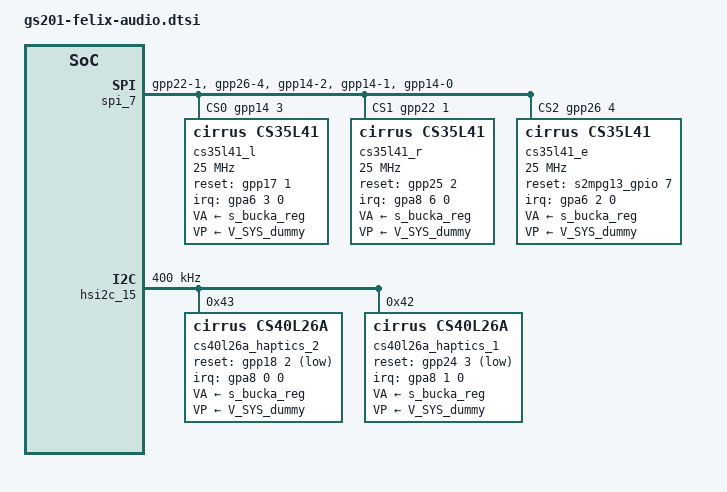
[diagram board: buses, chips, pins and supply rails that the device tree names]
// SPDX-License-Identifier: GPL-2.0-only
/*
 * Google GS201 Felix common audio device tree source
 *
 * Copyright (c) 2021 Google, LLC
 *          https://www.google.com
 *
 *  cs35l41_l = top
 *  cs35l41_r = bottom
 */
#include <arm64/exynos/exynos-pinctrl.h>
#include "gs201/gs101-pinctrl.h"
#include <dt-bindings/gpio/gpio.h>
#include <dt-bindings/sound/google-aoc.h>

/delete-node/ &cs40l26a_haptics;

&aoc {
	aoc-board-cfg = "F10";
	aoc-board-id = <0x30601>;
	aoc-board-rev = <0x10000>;
};

&dai_be_tdm0_rx {
	codec {
		sound-dai = <&cs35l41_l 0>,
			<&cs35l41_r 0>,
			<&cs35l41_e 0>;
	};
};

&dai_be_tdm0_tx {
	codec {
		sound-dai = <&cs35l41_l 0>,
			<&cs35l41_r 0>,
			<&cs35l41_e 0>;
	};
};

&dai_be_haptic_rx_codec {
	sound-dai = <&cs40l26_codec 0>, <&cs40l26_codec_2 0>;
};

&aoc_snd_card {
	clks {
		sys {
			sys@cs35l41_l {
				comp = <&cs35l41_l>;
				src = "BCLK";
				/* clk id */
				id = <0>;
				/* clk source */
				srcid = <0>;
				/* in clk multiple */
				in_mul = <1>;
				/* out clk multiple */
				out_mul = <1>;
			};

			sys@cs35l41_r {
				comp = <&cs35l41_r>;
				src = "BCLK";
				/* clk id */
				id = <0>;
				/* clk source */
				srcid = <0>;
				/* in clk multiple */
				in_mul = <1>;
				/* out clk multiple */
				out_mul = <1>;
			};

			sys@cs35l41_e {
				comp = <&cs35l41_e>;
				src = "BCLK";
				/* clk id */
				id = <0>;
				/* clk source */
				srcid = <0>;
				/* in clk multiple */
				in_mul = <1>;
				/* out clk multiple */
				out_mul = <1>;
			};

			sys@cs40l26_codec_2 {
				comp = <&cs40l26_codec_2>;
				src = "BCLK";
				/* clk id */
				id = <0>;
				/* clk source */
				srcid = <0>;
				/* in clk multiple */
				in_mul = <1>;
				/* out clk multiple */
				out_mul = <1>;
			};
		};
	};
};

/* GPIO_FAR_ALIVE */
&pinctrl_1 {
	cs35l41_l_irq: cs35l41-l-irq {
		samsung,pins = "gpa6-3"; /* XEINT_3 - AMP1_IRQ_L */
		samsung,pin-function = <EXYNOS_PIN_FUNC_EINT>;
		samsung,pin-pud = <EXYNOS_PIN_PULL_NONE>;
	};

	cs35l41_r_irq: cs35l41-r-irq {
		samsung,pins = "gpa8-6"; /* XEINT_18 - AMP2_IRQ_L */
		samsung,pin-function = <EXYNOS_PIN_FUNC_EINT>;
		samsung,pin-pud = <EXYNOS_PIN_PULL_NONE>;
	};

	cs35l41_e_irq: cs35l41-e-irq {
		samsung,pins = "gpa6-2"; /* XEINT_2 - AMP3_IRQ_L */
		samsung,pin-function = <EXYNOS_PIN_FUNC_EINT>;
		samsung,pin-pud = <EXYNOS_PIN_PULL_NONE>;
	};

	hapt_amp2_irq: hapt-amp2-irq {
		samsung,pins = "gpa8-0"; /* XEINT_12 */
		samsung,pin-function = <EXYNOS_PIN_FUNC_EINT>;
		samsung,pin-pud = <EXYNOS_PIN_PULL_NONE>;
	};
};

/* GPIO_PERIC0 */
&pinctrl_4 {
	cs35l41_clk: cs35l41-clk {
		samsung,pins = "gpp14-0"; /* XAPC_USI7_RXD_CLK_SCL - AUDIO_SPI_CLK */
		samsung,pin-drv = <GS101_PIN_DRV_5_MA>;
	};

	cs35l41_mosi: cs35l41-mosi {
		samsung,pins = "gpp14-1"; /* XAPC_USI7_TXD_DO_SDA - AUDIO_SPI_MOSI */
		samsung,pin-drv = <GS101_PIN_DRV_5_MA>;
	};

	cs35l41_miso: cs35l41-miso {
		samsung,pins = "gpp14-2"; /* XAPC_USI7_RTSn_DI - AUDIO_SPI_MISO */
		samsung,pin-pud = <EXYNOS_PIN_PULL_DOWN>;
	};

	cs35l41_cs1: cs35l41-cs1 {
		samsung,pins = "gpp14-3"; /* XAPC_USI7_CTSN_CSN - AUDIO_AMP1_SPI_CS_L */
		samsung,pin-function = <EXYNOS_PIN_FUNC_OUTPUT>;
		samsung,pin-pud = <EXYNOS_PIN_PULL_NONE>;
	};

	cs35l41_l_rst: cs35l41-l-rst {
		samsung,pins = "gpp17-1"; /* XAPC_VSYNC8 - AMP1_RESET_L */
		samsung,pin-function = <EXYNOS_PIN_FUNC_OUTPUT>;
		samsung,pin-pud = <EXYNOS_PIN_PULL_NONE>;
		samsung,pin-con-pdn = <EXYNOS_PIN_PDN_PREV>;
		samsung,pin-pud-pdn = <EXYNOS_PIN_PULL_NONE>;
	};
        hapt_amp2_rst: hapt-amp2-rst {
		samsung,pins = "gpp18-2"; /* XAPC_USI14_RTSn_DI */
		samsung,pin-function = <EXYNOS_PIN_FUNC_OUTPUT>;
		samsung,pin-pud = <EXYNOS_PIN_PULL_NONE>;
		samsung,pin-con-pdn = <EXYNOS_PIN_PDN_PREV>;
		samsung,pin-pud-pdn = <EXYNOS_PIN_PULL_NONE>;
	};
};

/* GPIO_PERIC1 */
&pinctrl_5 {
	cs35l41_cs2: cs35l41-cs2 {
		samsung,pins = "gpp22-1"; /* XAPC_GPIO5 - AUDIO_AMP2_SPI_CS_L */
		samsung,pin-function = <EXYNOS_PIN_FUNC_OUTPUT>;
		samsung,pin-pud = <EXYNOS_PIN_PULL_NONE>;
	};

	cs35l41_cs3: cs35l41-cs3 {
		samsung,pins = "gpp26-4"; /* XAPC_GPIO6 - AUDIO_AMP3_SPI_CS_L */
		samsung,pin-function = <EXYNOS_PIN_FUNC_OUTPUT>;
		samsung,pin-pud = <EXYNOS_PIN_PULL_NONE>;
	};

	cs35l41_r_rst: cs35l41-r-rst {
		samsung,pins = "gpp25-2"; /* XAPC_USI13_RTSn_DI - AMP2_RESET_L */
		samsung,pin-function = <EXYNOS_PIN_FUNC_OUTPUT>;
		samsung,pin-pud = <EXYNOS_PIN_PULL_NONE>;
		samsung,pin-con-pdn = <EXYNOS_PIN_PDN_PREV>;
		samsung,pin-pud-pdn = <EXYNOS_PIN_PULL_NONE>;
	};
};

&s2mpg13_pinctrl {
        cs35l41_e_rst: cs35l41-e-rst {
        };
};

&spi7_cs_func {
	samsung,pins = "gpp14-3";
	samsung,pin-drv = <GS101_PIN_DRV_5_MA>;
};

&spi_7 {
	/* XAPC_USI7 */
	#address-cells = <1>;
	#size-cells = <0>;
	status = "okay";

	pinctrl-names = "default";
	pinctrl-0 = <&spi7_bus &spi7_cs_func &cs35l41_cs2 &cs35l41_cs3
		     &cs35l41_miso &cs35l41_mosi &cs35l41_clk>;
	cs-gpios = <&gpp14 3 GPIO_ACTIVE_HIGH>, <&gpp22 1 GPIO_ACTIVE_HIGH>,
		   <&gpp26 4 GPIO_ACTIVE_HIGH>;

	cs35l41_l: cs35l41@0 {
		#sound-dai-cells = <1>;
		compatible = "cirrus,cs35l41";
		spi-max-frequency = <25000000>;
		reg = <0>;

		status = "okay";

		pinctrl-names = "default";
		pinctrl-0 = <&cs35l41_l_irq &cs35l41_l_rst>;

		interrupt-parent = <&gpa6>;
		interrupts = <3 0 0>;

		reset-gpios = <&gpp17 1 GPIO_ACTIVE_HIGH>;

		VA-supply = <&s_bucka_reg>;
		VP-supply = <&V_SYS_dummy>;

		cirrus,boost-peak-milliamp = <3500>;
		cirrus,boost-ind-nanohenry = <1000>;
		cirrus,boost-cap-microfarad = <4>;

		cirrus,asp-sdout-hiz = <3>;
		cirrus,tuning-has-prefix;
		cirrus,hw-noise-gate-select = <63>;
		/* cirrus,hibernate-enable; */

		cirrus,gpio-config2 {
			cirrus,gpio-src-select = <0x5>;
			cirrus,gpio-output-enable;
		};

		controller-data {
			cs-gpio = <&gpp14 3 GPIO_ACTIVE_HIGH>;
			samsung,spi-feedback-delay = <1>;
			/* SET SPI CS CONTROL TO AUTOMATIC */
			samsung,spi-chip-select-mode = <1>;
		};
	};


	cs35l41_r: cs35l41@1 {
		#sound-dai-cells = <1>;
		sound-name-prefix = "R";
		compatible = "cirrus,cs35l41";
		spi-max-frequency = <25000000>;
		reg = <1>;

		status = "okay";

		pinctrl-names = "default";
		pinctrl-0 = <&cs35l41_r_irq &cs35l41_r_rst>;

		interrupt-parent = <&gpa8>;
		interrupts = <6 0 0>;

		reset-gpios = <&gpp25 2 GPIO_ACTIVE_HIGH>;

		VA-supply = <&s_bucka_reg>;
		VP-supply = <&V_SYS_dummy>;

		cirrus,boost-peak-milliamp = <3500>;
		cirrus,boost-ind-nanohenry = <1000>;
		cirrus,boost-cap-microfarad = <4>;

		cirrus,asp-sdout-hiz = <3>;
		cirrus,tuning-has-prefix;
		cirrus,hw-noise-gate-select = <63>;
		/* cirrus,hibernate-enable; */
		cirrus,right-channel-amp;

		cirrus,gpio-config2 {
			cirrus,gpio-src-select = <0x5>;
			cirrus,gpio-output-enable;
		};

		controller-data {
			cs-gpio =<&gpp22 1 GPIO_ACTIVE_HIGH>;
			samsung,spi-feedback-delay = <1>;
			/* SET SPI CS CONTROL TO AUTOMATIC */
			samsung,spi-chip-select-mode = <1>;
		};
	};

	cs35l41_e: cs35l41@2 {
		#sound-dai-cells = <1>;
		sound-name-prefix = "E";
		compatible = "cirrus,cs35l41";
		spi-max-frequency = <25000000>;
		reg = <2>;

		status = "okay";

		pinctrl-names = "default";
		pinctrl-0 = <&cs35l41_e_irq &cs35l41_e_rst>;

		interrupt-parent = <&gpa6>;
		interrupts = <2 0 0>;

		reset-gpios = <&s2mpg13_gpio 7 GPIO_ACTIVE_HIGH>;

		VA-supply = <&s_bucka_reg>;
		VP-supply = <&V_SYS_dummy>;

		cirrus,boost-peak-milliamp = <3500>;
		cirrus,boost-ind-nanohenry = <1000>;
		cirrus,boost-cap-microfarad = <4>;

		cirrus,asp-sdout-hiz = <3>;
		cirrus,tuning-has-prefix;
		cirrus,left-channel-amp;
		cirrus,hw-noise-gate-select = <63>;
		/* cirrus,hibernate-enable; */

		cirrus,gpio-config2 {
			cirrus,gpio-src-select = <0x5>;
			cirrus,gpio-output-enable;
		};

		controller-data {
			cs-gpio =<&gpp26 4 GPIO_ACTIVE_HIGH>;
			samsung,spi-feedback-delay = <1>;
			/* SET SPI CS CONTROL TO AUTOMATIC */
			samsung,spi-chip-select-mode = <1>;
		};
	};
};

&hsi2c_15 {
	#address-cells = <1>;
	#size-cells = <0>;
	pinctrl-names = "default";
	pinctrl-0 = <&hsi2c15_bus>;
	clock-frequency = <400000>;

	cs40l26a_haptics_2: cs40l26a@43 {
		compatible = "cirrus,cs40l26a";
		reg = <0x43>;
		input-device-name = "cs40l26_input";	/* input device name */
		input-device-id = <0>;

		pinctrl-names = "default";
		pinctrl-0 = <&hapt_amp2_irq &hapt_amp2_rst &hapt_amp_trig>;

		interrupt-parent = <&gpa8>;
		interrupts = <0 0 0>;

		reset-gpios = <&gpp18 2 GPIO_ACTIVE_LOW>;

		VA-supply = <&s_bucka_reg>;
		VP-supply = <&V_SYS_dummy>;

		cirrus,bst-dcm-en = <0>;
		cirrus,pwle-zero-cross-en;
		cirrus,vpbr-enable;
		cirrus,vpbr-thld-uv = <3008000>;	/* 3.008V */
		cirrus,bst-expl-mode-disable;
		cirrus,bst-ipk-microamp = <2500000>;	/* 2.5A */
		cirrus,bst-ctl-microvolt = <11000000>;	/* 11V */
		cirrus,f0-default = <0x2A8000>;         /* 170 Hz */
		cirrus,redc-default = <0x48000>;        /* 9 Ohm */
		cirrus,pm-active-timeout-ms = <5>;
		status = "okay";

		cs40l26_codec: cs40l26_codec@snd {
			#sound-dai-cells = <1>;
			compatible = "cs40l26-codec";
			status = "okay";
		};
	};

	cs40l26a_haptics_1: cs40l26a@42 {
		compatible = "cirrus,cs40l26a";
		reg = <0x42>;
		input-device-name = "cs40l26_dual_input";	/* input device name */
		input-device-id = <1>;

		pinctrl-names = "default";
		pinctrl-0 = <&hapt_amp_irq &hapt_amp_rst>;

		interrupt-parent = <&gpa8>;
		interrupts = <1 0 0>;

		reset-gpios = <&gpp24 3 GPIO_ACTIVE_LOW>;

		VA-supply = <&s_bucka_reg>;
		VP-supply = <&V_SYS_dummy>;

		cirrus,bst-dcm-en = <0>;
		cirrus,pwle-zero-cross-en;
		cirrus,vpbr-enable;
		cirrus,vpbr-thld-uv = <3008000>;	/* 3.008V */
		cirrus,bst-expl-mode-disable;
		cirrus,bst-ipk-microamp = <2500000>;	/* 2.5A */
		cirrus,bst-ctl-microvolt = <11000000>;	/* 11V */
		cirrus,f0-default = <0x2A8000>;         /* 170 Hz */
		cirrus,redc-default = <0x48000>;        /* 9 Ohm */
		cirrus,pm-active-timeout-ms = <5>;

		status = "okay";

		cs40l26_codec_2: cs40l26_codec_2@snd {
			#sound-dai-cells = <1>;
			sound-name-prefix = "HR";
			compatible = "cs40l26-codec";
			status = "okay";
		};
	};
};
